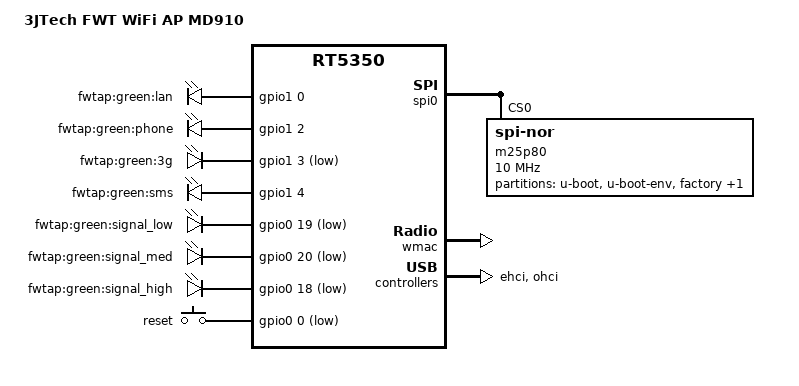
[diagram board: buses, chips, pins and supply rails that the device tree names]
/dts-v1/;

#include "rt5350.dtsi"

#include <dt-bindings/gpio/gpio.h>
#include <dt-bindings/input/input.h>

/ {
	compatible = "3jtech,fwtap", "ralink,rt5350-soc";
	model = "3JTech FWT WiFi AP MD910";

	leds {
		compatible = "gpio-leds";

		lan {
			label = "fwtap:green:lan";
			gpios = <&gpio1 0 GPIO_ACTIVE_HIGH>;
			linux,default-trigger = "switch";
		};

		/*wlan {
			label = "fwtap:green:wlan";
			gpios = <&gpio1 1 GPIO_ACTIVE_LOW>;
		};*/

		phone {
			label = "fwtap:green:phone";
			gpios = <&gpio1 2 GPIO_ACTIVE_HIGH>;
		};

		3g {
			label = "fwtap:green:3g";
			gpios = <&gpio1 3 GPIO_ACTIVE_LOW>;
			trigger-sources = <&ohci_port1>, <&ehci_port1>;
			linux,default-trigger = "usbport";
		};

		sms {
			label = "fwtap:green:sms";
			gpios = <&gpio1 4 GPIO_ACTIVE_HIGH>;
		};

		signal_low {
			label = "fwtap:green:signal_low";
			gpios = <&gpio0 19 GPIO_ACTIVE_LOW>;
		};

		signal_med {
			label = "fwtap:green:signal_med";
			gpios = <&gpio0 20 GPIO_ACTIVE_LOW>;
		};

		signal_high {
			label = "fwtap:green:signal_high";
			gpios = <&gpio0 18 GPIO_ACTIVE_LOW>;
		};

	};

	keys {
		compatible = "gpio-keys-polled";
		poll-interval = <20>;

		reset {
			label = "reset";
			gpios = <&gpio0 0 1>;
			linux,code = <KEY_RESTART>;
		};
	};

	/*gpio-export {
		compatible = "gpio-export";
		#size-cells = <0>;

		modem3g_enable {
			gpio-export,name = "modem3g_enable";
			gpio-export,output = <1>;
			gpios = <&gpio0 11 GPIO_ACTIVE_HIGH>;
		};
	};*/
};

&spi0 {
	status = "okay";
	m25p80@0 {
		#address-cells = <1>;
		#size-cells = <1>;
		compatible = "jedec,spi-nor", "mx25l3205d";
		reg = <0>;
		spi-max-frequency = <10000000>;

		partitions {
			compatible = "fixed-partitions";
			#address-cells = <1>;
			#size-cells = <1>;

			partition@0 {
				label = "u-boot";
				reg = <0x0 0x30000>;
				read-only;
			};

			partition@30000 {
				label = "u-boot-env";
				reg = <0x30000 0x10000>;
				read-only;
			};

			factory: partition@40000 {
				label = "factory";
				reg = <0x40000 0x10000>;
				read-only;
			};

			partition@50000 {
				compatible = "denx,uimage";
				label = "firmware";
				reg = <0x50000 0x3b0000>;
			};
		};
	};
};

&pinctrl {
	state_default: pinctrl0 {
		gpio {
			ralink,group = "i2c", "jtag", "uartf", "led";
			ralink,function = "gpio";
		};
	};
};

&gpio1 {
	status = "okay";
};

&ethernet {
	mtd-mac-address = <&factory 0x4>;
};

&wmac {
	ralink,mtd-eeprom = <&factory 0>;
	ralink,led-polarity = <1>;
};

&esw {
	mediatek,portmap = <0x3f>;
	mediatek,portdisable = <0x3e>;
};

&ehci {
	status = "okay";
};

&ohci {
	status = "okay";
};
